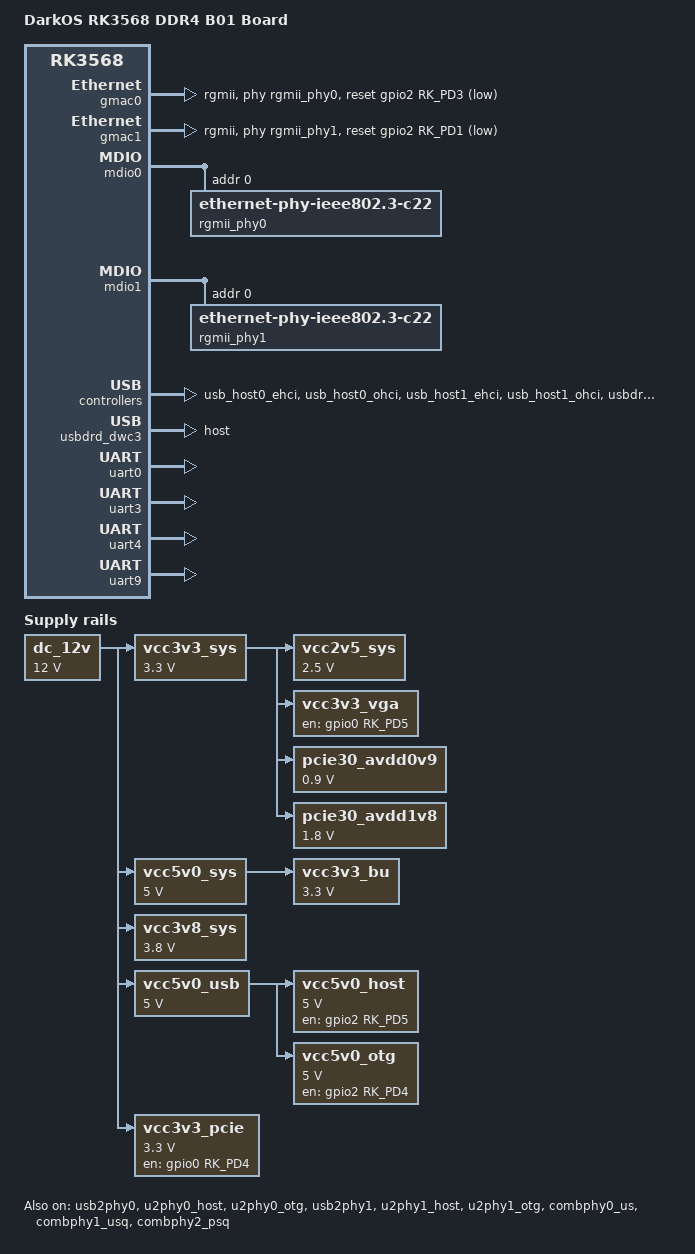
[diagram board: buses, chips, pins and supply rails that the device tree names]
// SPDX-License-Identifier: (GPL-2.0+ OR MIT)
/*
 * Copyright (c) 2020 Rockchip Electronics Co., Ltd.
 *
 */

/dts-v1/;

#include <dt-bindings/gpio/gpio.h>
#include <dt-bindings/pinctrl/rockchip.h>
#include "rk3568.dtsi"
#include "rk3568-rockenergy-ddr4-som.dtsi"

/ {
	model = "DarkOS RK3568 DDR4 B01 Board";
	compatible = "rockchip,rk3568-evb1-ddr4-v10", "rockchip,rk3568";

	dc_12v: dc-12v {
		compatible = "regulator-fixed";
		regulator-name = "dc_12v";
		regulator-always-on;
		regulator-boot-on;
		regulator-min-microvolt = <12000000>;
		regulator-max-microvolt = <12000000>;
	};

	vcc3v3_sys: vcc3v3-sys {
		compatible = "regulator-fixed";
		regulator-name = "vcc3v3_sys";
		regulator-always-on;
		regulator-boot-on;
		regulator-min-microvolt = <3300000>;
		regulator-max-microvolt = <3300000>;
		vin-supply = <&dc_12v>;
	};

	vcc5v0_sys: vcc5v0-sys {
		compatible = "regulator-fixed";
		regulator-name = "vcc5v0_sys";
		regulator-always-on;
		regulator-boot-on;
		regulator-min-microvolt = <5000000>;
		regulator-max-microvolt = <5000000>;
		vin-supply = <&dc_12v>;
	};

	vcc3v8_sys: vcc3v8-sys {
		compatible = "regulator-fixed";
		regulator-name = "vcc3v8_sys";
		regulator-always-on;
		regulator-boot-on;
		regulator-min-microvolt = <3800000>;
		regulator-max-microvolt = <3800000>;
		vin-supply = <&dc_12v>;
	};

    vcc5v0_usb: vcc5v0-usb {
		compatible = "regulator-fixed";
		regulator-name = "vcc5v0_usb";
		regulator-always-on;
		regulator-boot-on;
		regulator-min-microvolt = <5000000>;
		regulator-max-microvolt = <5000000>;
		vin-supply = <&dc_12v>;
	};
	
	vcc5v0_host: vcc5v0-host-regulator {
		compatible = "regulator-fixed";
		regulator-name = "vcc5v0_host";
		regulator-boot-on;
		regulator-always-on;
		regulator-min-microvolt = <5000000>;
		regulator-max-microvolt = <5000000>;
		pinctrl-names = "default";
		pinctrl-0 = <&vcc3v3_host_en>;
		gpio = <&gpio2 RK_PD5 GPIO_ACTIVE_HIGH>;
		enable-active-high;
		vin-supply = <&vcc5v0_usb>;
	};

	vcc5v0_otg: vcc5v0-otg-regulator {
		compatible = "regulator-fixed";
		regulator-name = "vcc5v0_otg";
		regulator-min-microvolt = <5000000>;
		regulator-max-microvolt = <5000000>;
		pinctrl-names = "default";
		pinctrl-0 = <&vcc3v3_otg_en>;
		gpio = <&gpio2 RK_PD4 GPIO_ACTIVE_HIGH>;
		enable-active-high;
		vin-supply = <&vcc5v0_usb>;
	};

	vcc2v5_sys: vcc2v5-ddr {
		compatible = "regulator-fixed";
		regulator-name = "vcc2v5-sys";
		regulator-always-on;
		regulator-boot-on;
		regulator-min-microvolt = <2500000>;
		regulator-max-microvolt = <2500000>;
		vin-supply = <&vcc3v3_sys>;
	};

	vcc3v3_vga: vcc3v3-vga {
		compatible = "regulator-fixed";
		regulator-name = "vcc3v3_vga";
		regulator-always-on;
		regulator-boot-on;
		gpio = <&gpio0 RK_PD5 GPIO_ACTIVE_HIGH>;
		enable-active-high;
		vin-supply = <&vcc3v3_sys>;
	};

	pcie30_avdd0v9: pcie30-avdd0v9 {
		compatible = "regulator-fixed";
		regulator-name = "pcie30_avdd0v9";
		regulator-always-on;
		regulator-boot-on;
		regulator-min-microvolt = <900000>;
		regulator-max-microvolt = <900000>;
		vin-supply = <&vcc3v3_sys>;
	};

	pcie30_avdd1v8: pcie30-avdd1v8 {
		compatible = "regulator-fixed";
		regulator-name = "pcie30_avdd1v8";
		regulator-always-on;
		regulator-boot-on;
		regulator-min-microvolt = <1800000>;
		regulator-max-microvolt = <1800000>;
		vin-supply = <&vcc3v3_sys>;
	};

	vcc3v3_pcie: gpio-regulator {
		compatible = "regulator-fixed";
		regulator-name = "vcc3v3_pcie";
		regulator-min-microvolt = <3300000>;
		regulator-max-microvolt = <3300000>;
		enable-active-high;
		gpio = <&gpio0 RK_PD4 GPIO_ACTIVE_HIGH>;
		startup-delay-us = <5000>;
		vin-supply = <&dc_12v>;
	};

	vcc3v3_bu: vcc3v3-bu {
		compatible = "regulator-fixed";
		regulator-name = "vcc3v3_bu";
		regulator-always-on;
		regulator-boot-on;
		regulator-min-microvolt = <3300000>;
		regulator-max-microvolt = <3300000>;
		vin-supply = <&vcc5v0_sys>;
	};




};


// 1. 网络部分
&gmac0 {
	phy-mode = "rgmii";
	clock_in_out = "input";
	snps,reset-gpio = <&gpio2 RK_PD3 GPIO_ACTIVE_LOW>;
	snps,reset-active-low;
	/* Reset time is 20ms, 100ms for rtl8211f */
	snps,reset-delays-us = <0 20000 100000>;

	assigned-clocks = <&cru SCLK_GMAC0_RX_TX>, <&cru SCLK_GMAC0>;
	assigned-clock-parents = <&cru SCLK_GMAC0_RGMII_SPEED>, <&gmac0_clkin>;
	assigned-clock-rates = <0>, <125000000>;

	pinctrl-names = "default";
    pinctrl-0 = <&gmac0_miim
                &gmac0_tx_bus2
                &gmac0_rx_bus2
                &gmac0_rgmii_clk
                &gmac0_rgmii_bus
				&gmac0_clkinout>;

	tx_delay = <0x1d>;
	rx_delay = <0x1c>;

	phy-handle = <&rgmii_phy0>;
	status = "okay";
};

&gmac1 {
	phy-mode = "rgmii";
	clock_in_out = "input";
	snps,reset-gpio = <&gpio2 RK_PD1 GPIO_ACTIVE_LOW>;
	snps,reset-active-low;
	/* Reset time is 20ms, 100ms for rtl8211f */
	snps,reset-delays-us = <0 20000 100000>;

	assigned-clocks = <&cru SCLK_GMAC1_RX_TX>, <&cru SCLK_GMAC1>;
	assigned-clock-parents = <&cru SCLK_GMAC1_RGMII_SPEED>, <&gmac1_clkin>;
	assigned-clock-rates = <0>, <125000000>;

	pinctrl-names = "default";
	pinctrl-0 = <&gmac1m1_miim
                &gmac1m1_tx_bus2
                &gmac1m1_rx_bus2
                &gmac1m1_rgmii_clk
                &gmac1m1_rgmii_bus
				&gmac1m1_clkinout>;

	tx_delay = <0x1d>;
	rx_delay = <0x1c>;

	phy-handle = <&rgmii_phy1>;
	status = "okay";
};

&mdio0 {
	rgmii_phy0: phy@0 {
		compatible = "ethernet-phy-ieee802.3-c22";
		reg = <0x0>;
	};
};

&mdio1 {
	rgmii_phy1: phy@0 {
		compatible = "ethernet-phy-ieee802.3-c22";
		reg = <0x0>;
	};
};

// 2. USB 高速接口部分

/* USB2.0 接口 */
&usb2phy0 {			/* USB OTG/USB Host_1 USB 2.0 Comb PHY_0 */
	status = "okay";
};

&u2phy0_host {
	phy-supply = <&vcc5v0_host>;
	status = "okay";
};

&u2phy0_otg {
	vbus-supply = <&vcc5v0_otg>;
	status = "okay";
};

&usb2phy1 {			/* USB Host_1/USB Host_2 USB 2.0 Comb PHY_0 */
	status = "okay";
};

&u2phy1_host {
	phy-supply = <&vcc5v0_host>;
	status = "okay";
};

&u2phy1_otg {
	phy-supply = <&vcc5v0_host>;
	status = "okay";
};

&usb_host0_ehci {
	status = "okay";
};

&usb_host0_ohci {
	status = "okay";
};

&usb_host1_ehci {
	status = "okay";
};

&usb_host1_ohci {
	status = "okay";
};

/* USB 3.0 OTG DTS 接口 */
&usbdrd30 {
	status = "okay";
};

&usbdrd_dwc3 {
	dr_mode = "host";
	extcon = <&usb2phy0>;
	status = "okay";
};

&combphy0_us {
    status = "okay";
};

&combphy1_usq {
    status = "okay";
};

&combphy2_psq {
    status = "okay";
};
// USB 3.0 Host DTS 配置
&usbhost30 {
	status = "okay";
};

&usbhost_dwc3 {
	status = "okay";
};

// 4. 低速接口部分
// &can1 {
//        assigned-clocks = <&cru CLK_CAN1>;
//        assigned-clock-rates = <150000000>;
//        pinctrl-names = "default";
//        pinctrl-0 = <&can1m0_pins>;
//        status = "okay";
// };

// &can2 {
//     assigned-clocks = <&cru CLK_CAN2>;
//     assigned-clock-rates = <150000000>;
//     pinctrl-names = "default";
//     pinctrl-0 = <&can2m0_pins>;
//     status = "okay";
// };

&uart0 { 
		status ="okay"; 
 		pinctrl-names = "default";
  		pinctrl-0 = <&uart0_xfer>;
};

&uart3 { 
	    status = "okay"; 
		pinctrl-names = "default"; 
		pinctrl-0 = <&uart3m1_xfer>; 
};

&uart4 {
	status = "okay";
	pinctrl-names = "default";
	pinctrl-0 = <&uart4m1_xfer>;
};

&uart9 {
	status = "okay";
	pinctrl-names = "default";
	pinctrl-0 = <&uart9m1_xfer>;
};

&pinctrl {

	AH101-usb {
		vcc3v3_otg_en: vcc3v3-otg-en {
			rockchip,pins = <2 RK_PD4 RK_FUNC_GPIO &pcfg_pull_none>;
		};

		vcc3v3_host_en: vcc3v3-host-en {
			rockchip,pins = <2 RK_PD5 RK_FUNC_GPIO &pcfg_pull_none>;
		};
	};

	usb {
		usb_otg_id_gpio: usb-otg-id-gpio {
			rockchip,pins = <2 RK_PD6 RK_FUNC_GPIO &pcfg_pull_none>;
		};
		usb_hub_rst_gpio: usb-hub-rst-gpio {
			rockchip,pins = <2 RK_PD7 RK_FUNC_GPIO &pcfg_pull_none>;
		};
	};

	headphone {
		hp_det: hp-det {
			rockchip,pins = <3 RK_PC2 RK_FUNC_GPIO &pcfg_pull_up>;
		};
	};
};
